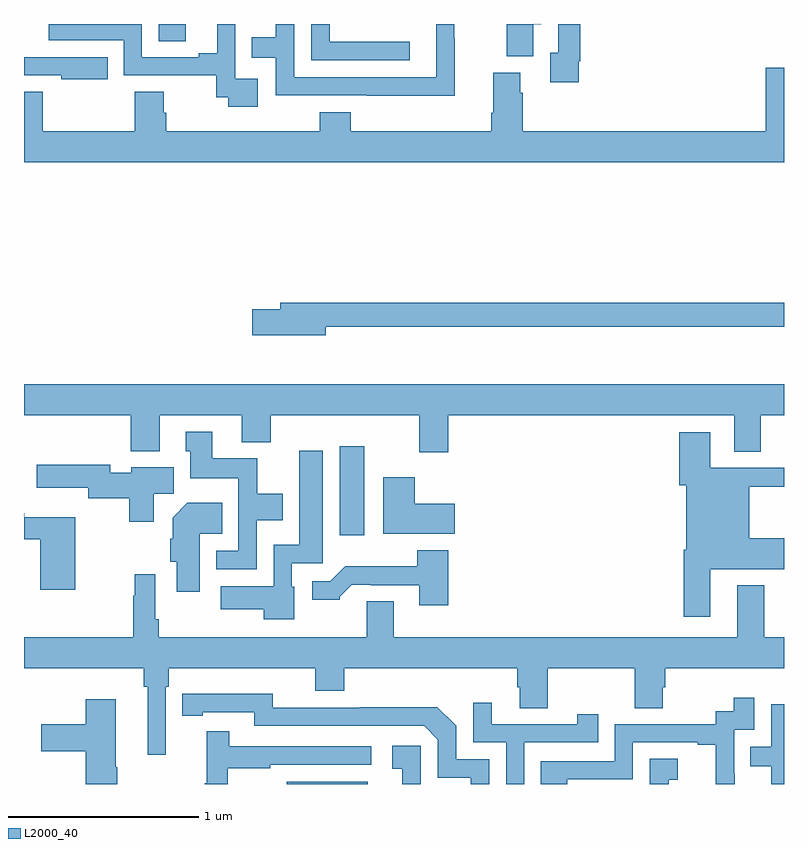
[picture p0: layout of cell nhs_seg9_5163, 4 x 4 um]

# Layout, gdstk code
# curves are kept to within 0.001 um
import gdstk
lib = gdstk.Library(unit=1e-6, precision=1e-09)
def R(c, l, rs):  # rectangles x0, y0, x1, y1
    for r in rs: c.add(gdstk.rectangle(r[:2], r[2:], *l))
def P(c, l, *ps):  # polygons
    for p in ps: c.add(gdstk.Polygon(p, *l))
L2000_40 = (2000, 40)

nhs_seg9_5163 = lib.new_cell('nhs_seg9_5163')
R(nhs_seg9_5163, L2000_40, [(412.383,1174.5,412.81,1174.513), (412.661,1175.808,412.792,1176.277), (411.71,1178.41,411.85,1178.5), (412.731,1178.498,413.08,1178.5)])
P(nhs_seg9_5163, L2000_40, [(413.68,1178.498),(413.722,1178.498),(413.722,1178.5),(413.54,1178.5),(413.54,1178.329),(413.68,1178.329)],
  [(413.267,1178.426),(413.265,1178.426),(413.265,1178.5),(413.169,1178.5),(413.169,1178.22),(412.422,1178.22),(412.422,1178.5),(412.325,1178.5),(412.325,1178.431),(412.198,1178.431),(412.198,1178.322),(412.326,1178.322),(412.326,1178.124),(412.804,1178.124),(412.804,1178.123),(413.267,1178.123)],
  [(413.029,1178.406),(412.608,1178.406),(412.608,1178.5),(412.512,1178.5),(412.512,1178.31),(413.029,1178.31)],
  [(413.92,1178.305),(413.927,1178.305),(413.927,1178.5),(413.811,1178.5),(413.811,1178.349),(413.771,1178.349),(413.771,1178.193),(413.92,1178.193)],
  [(412.231,1178.211),(412.113,1178.211),(412.113,1178.5),(412.016,1178.5),(412.016,1178.345),(411.92,1178.345),(411.92,1178.325),(411.621,1178.325),(411.621,1178.5),(411.13,1178.5),(411.13,1178.415),(411.525,1178.415),(411.525,1178.229),(412.012,1178.229),(412.012,1178.115),(412.075,1178.115),(412.075,1178.064),(412.231,1178.064)],
  [(411.44,1178.325),(411,1178.325),(411,1178.229),(411.197,1178.229),(411.197,1178.21),(411.44,1178.21)],
  [(415,1178.269),(414.904,1178.269),(414.904,1177.936),(413.624,1177.936),(413.624,1178.138),(413.611,1178.138),(413.611,1178.244),(413.471,1178.244),(413.471,1178.032),(413.459,1178.032),(413.459,1177.936),(412.721,1177.936),(412.721,1178.035),(412.556,1178.035),(412.556,1177.936),(411.749,1177.936),(411.749,1178.034),(411.736,1178.034),(411.736,1178.144),(411.584,1178.144),(411.584,1177.936),(411.098,1177.936),(411.098,1178.144),(411,1178.144),(411,1177.772),(415,1177.772)],
  [(412.588,1176.906),(415,1176.906),(415,1177.034),(412.349,1177.034),(412.349,1176.998),(412.2,1176.998),(412.2,1176.863),(412.588,1176.863)],
  [(413.234,1176.44),(414.737,1176.44),(414.737,1176.25),(414.877,1176.25),(414.877,1176.44),(415,1176.44),(415,1176.604),(411,1176.604),(411,1176.44),(411.563,1176.44),(411.563,1176.251),(411.715,1176.251),(411.715,1176.44),(412.145,1176.44),(412.145,1176.299),(412.298,1176.299),(412.298,1176.44),(413.081,1176.44),(413.081,1176.246),(413.234,1176.246)],
  [(412.224,1175.888),(412.363,1175.888),(412.363,1176.028),(412.227,1176.028),(412.227,1176.214),(411.991,1176.214),(411.991,1176.355),(411.851,1176.355),(411.851,1176.252),(411.875,1176.252),(411.875,1176.11),(412.128,1176.11),(412.128,1175.727),(412.011,1175.727),(412.011,1175.631),(412.224,1175.631)],
  [(414.613,1175.63),(415,1175.63),(415,1175.794),(414.817,1175.794),(414.817,1176.064),(415,1176.064),(415,1176.165),(414.613,1176.165),(414.613,1176.352),(414.449,1176.352),(414.449,1176.072),(414.485,1176.072),(414.485,1175.734),(414.473,1175.734),(414.473,1175.379),(414.613,1175.379)],
  [(412.423,1175.538),(412.41,1175.538),(412.41,1175.661),(412.573,1175.661),(412.573,1176.253),(412.448,1176.253),(412.448,1175.758),(412.314,1175.758),(412.314,1175.542),(412.035,1175.542),(412.035,1175.42),(412.262,1175.42),(412.262,1175.366),(412.423,1175.366)],
  [(411.682,1176.028),(411.787,1176.028),(411.787,1176.166),(411.564,1176.166),(411.564,1176.139),(411.454,1176.139),(411.454,1176.181),(411.066,1176.181),(411.066,1176.059),(411.338,1176.059),(411.338,1176.005),(411.553,1176.005),(411.553,1175.88),(411.682,1175.88)],
  [(413.266,1175.974),(413.056,1175.974),(413.056,1176.115),(412.892,1176.115),(412.892,1175.816),(413.266,1175.816)],
  [(411.925,1175.816),(412.043,1175.816),(412.043,1175.98),(411.86,1175.98),(411.782,1175.902),(411.782,1175.792),(411.77,1175.792),(411.77,1175.67),(411.803,1175.67),(411.803,1175.511),(411.925,1175.511)],
  [(411.269,1175.905),(411.002,1175.905),(411.002,1175.924),(411,1175.924),(411,1175.788),(411.086,1175.788),(411.086,1175.523),(411.269,1175.523)],
  [(413.234,1175.731),(413.069,1175.731),(413.069,1175.647),(412.69,1175.647),(412.611,1175.568),(412.518,1175.568),(412.518,1175.471),(412.662,1175.471),(412.662,1175.486),(412.726,1175.55),(412.825,1175.55),(412.825,1175.547),(413.081,1175.547),(413.081,1175.442),(413.234,1175.442)],
  [(411.582,1175.605),(411.582,1175.492),(411.574,1175.492),(411.574,1175.272),(411,1175.272),(411,1175.108),(411.631,1175.108),(411.631,1175.012),(411.65,1175.012),(411.65,1174.653),(411.747,1174.653),(411.747,1175.012),(411.761,1175.012),(411.761,1175.108),(412.532,1175.108),(412.532,1174.991),(412.685,1174.991),(412.685,1175.108),(413.597,1175.108),(413.597,1175.01),(413.609,1175.01),(413.609,1174.9),(413.757,1174.9),(413.757,1175.108),(414.214,1175.108),(414.214,1174.9),(414.361,1174.9),(414.361,1175.01),(414.374,1175.01),(414.374,1175.108),(415,1175.108),(415,1175.272),(414.895,1175.272),(414.895,1175.545),(414.755,1175.545),(414.755,1175.272),(412.945,1175.272),(412.945,1175.462),(412.805,1175.462),(412.805,1175.272),(411.71,1175.272),(411.71,1175.368),(411.69,1175.368),(411.69,1175.605)],
  [(413.448,1174.629),(413.274,1174.629),(413.274,1174.806),(413.176,1174.904),(412.768,1174.904),(412.768,1174.902),(412.308,1174.902),(412.308,1174.975),(411.832,1174.974),(411.832,1174.858),(411.94,1174.858),(411.94,1174.878),(412.212,1174.878),(412.212,1174.806),(413.106,1174.806),(413.178,1174.734),(413.178,1174.533),(413.351,1174.533),(413.351,1174.5),(413.448,1174.5)],
  [(413.859,1174.524),(414.204,1174.524),(414.204,1174.719),(414.545,1174.719),(414.545,1174.707),(414.641,1174.707),(414.641,1174.5),(414.74,1174.5),(414.74,1174.556),(414.738,1174.556),(414.738,1174.785),(414.843,1174.785),(414.843,1174.954),(414.735,1174.954),(414.735,1174.884),(414.642,1174.884),(414.642,1174.815),(414.108,1174.815),(414.108,1174.62),(413.719,1174.62),(413.719,1174.5),(413.859,1174.5)],
  [(411.492,1174.589),(411.484,1174.589),(411.484,1174.945),(411.326,1174.945),(411.326,1174.815),(411.09,1174.815),(411.09,1174.673),(411.326,1174.673),(411.326,1174.5),(411.492,1174.5)],
  [(413.634,1174.719),(414.023,1174.719),(414.023,1174.867),(413.912,1174.867),(413.912,1174.815),(413.461,1174.815),(413.461,1174.927),(413.364,1174.927),(413.364,1174.719),(413.538,1174.719),(413.538,1174.5),(413.634,1174.5)],
  [(415,1174.92),(414.933,1174.92),(414.933,1174.695),(414.823,1174.695),(414.823,1174.594),(414.933,1174.594),(414.933,1174.5),(415,1174.5)],
  [(412.072,1174.582),(412.295,1174.582),(412.295,1174.602),(412.828,1174.602),(412.828,1174.698),(412.079,1174.698),(412.079,1174.777),(411.962,1174.777),(411.962,1174.505),(411.951,1174.505),(411.951,1174.5),(412.072,1174.5)],
  [(413.088,1174.702),(412.938,1174.702),(412.938,1174.581),(412.991,1174.581),(412.991,1174.5),(413.088,1174.5)],
  [(414.393,1174.523),(414.442,1174.523),(414.442,1174.633),(414.294,1174.633),(414.294,1174.5),(414.393,1174.5)])

lib.write_gds('nhs_seg9_5163.gds')
